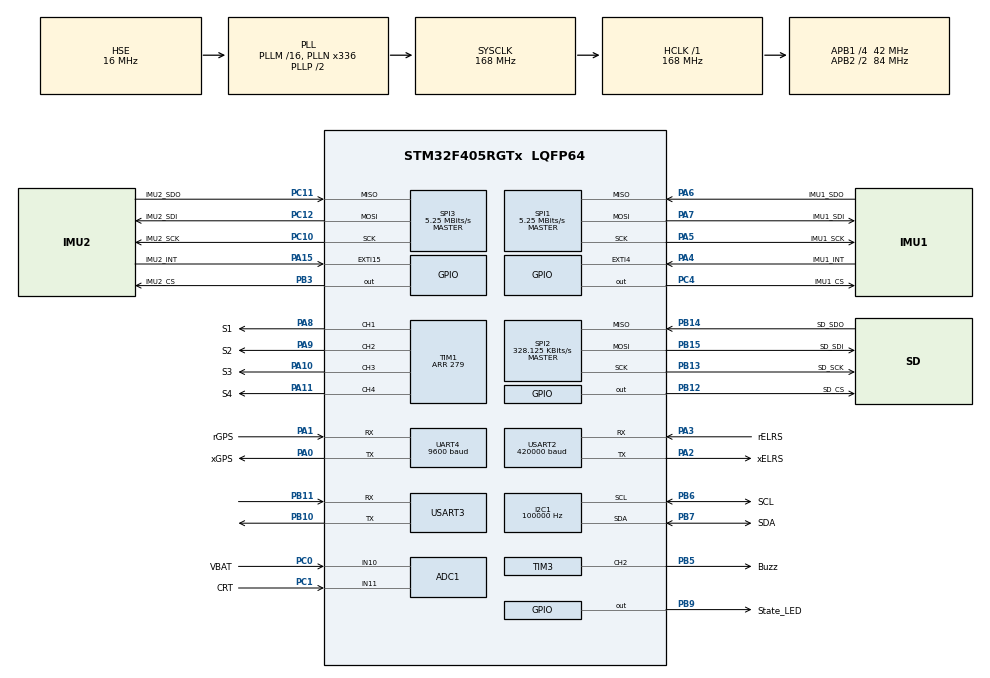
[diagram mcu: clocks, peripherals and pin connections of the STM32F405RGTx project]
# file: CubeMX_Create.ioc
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ADC1.Channel-0\#ChannelRegularConversion=ADC_CHANNEL_10
ADC1.Channel-1\#ChannelRegularConversion=ADC_CHANNEL_11
ADC1.ClockPrescaler=ADC_CLOCK_SYNC_PCLK_DIV6
ADC1.NbrOfConversion=2
ADC1.NbrOfConversionFlag=1
ADC1.Rank-0\#ChannelRegularConversion=1
ADC1.Rank-1\#ChannelRegularConversion=2
ADC1.SamplingTime-0\#ChannelRegularConversion=ADC_SAMPLETIME_144CYCLES
ADC1.SamplingTime-1\#ChannelRegularConversion=ADC_SAMPLETIME_15CYCLES
ADC1.master=1
Dma.Request0=TIM1_UP
Dma.Request1=SPI2_RX
Dma.Request2=SPI2_TX
Dma.Request3=UART4_RX
Dma.Request4=USART2_RX
Dma.Request5=USART2_TX
Dma.SPI2_RX.1.Direction=DMA_PERIPH_TO_MEMORY
Dma.SPI2_RX.1.FIFOMode=DMA_FIFOMODE_DISABLE
Dma.SPI2_RX.1.Instance=DMA1_Stream3
Dma.SPI2_RX.1.MemDataAlignment=DMA_MDATAALIGN_BYTE
Dma.SPI2_RX.1.MemInc=DMA_MINC_ENABLE
Dma.SPI2_RX.1.Mode=DMA_NORMAL
Dma.SPI2_RX.1.PeriphDataAlignment=DMA_PDATAALIGN_BYTE
Dma.SPI2_RX.1.PeriphInc=DMA_PINC_DISABLE
Dma.SPI2_RX.1.Priority=DMA_PRIORITY_LOW
Dma.SPI2_TX.2.Direction=DMA_MEMORY_TO_PERIPH
Dma.SPI2_TX.2.FIFOMode=DMA_FIFOMODE_DISABLE
Dma.SPI2_TX.2.Instance=DMA1_Stream4
Dma.SPI2_TX.2.MemDataAlignment=DMA_MDATAALIGN_BYTE
Dma.SPI2_TX.2.MemInc=DMA_MINC_ENABLE
Dma.SPI2_TX.2.Mode=DMA_NORMAL
Dma.SPI2_TX.2.PeriphDataAlignment=DMA_PDATAALIGN_BYTE
Dma.SPI2_TX.2.PeriphInc=DMA_PINC_DISABLE
Dma.SPI2_TX.2.Priority=DMA_PRIORITY_LOW
Dma.TIM1_UP.0.Direction=DMA_MEMORY_TO_PERIPH
Dma.TIM1_UP.0.FIFOMode=DMA_FIFOMODE_DISABLE
Dma.TIM1_UP.0.Instance=DMA2_Stream5
Dma.TIM1_UP.0.MemDataAlignment=DMA_MDATAALIGN_HALFWORD
Dma.TIM1_UP.0.MemInc=DMA_MINC_ENABLE
Dma.TIM1_UP.0.Mode=DMA_NORMAL
Dma.TIM1_UP.0.PeriphDataAlignment=DMA_PDATAALIGN_HALFWORD
Dma.TIM1_UP.0.PeriphInc=DMA_PINC_DISABLE
Dma.TIM1_UP.0.Priority=DMA_PRIORITY_VERY_HIGH
Dma.UART4_RX.3.Direction=DMA_PERIPH_TO_MEMORY
Dma.UART4_RX.3.FIFOMode=DMA_FIFOMODE_DISABLE
Dma.UART4_RX.3.Instance=DMA1_Stream2
Dma.UART4_RX.3.MemDataAlignment=DMA_MDATAALIGN_BYTE
Dma.UART4_RX.3.MemInc=DMA_MINC_ENABLE
Dma.UART4_RX.3.Mode=DMA_NORMAL
Dma.UART4_RX.3.PeriphDataAlignment=DMA_PDATAALIGN_BYTE
Dma.UART4_RX.3.PeriphInc=DMA_PINC_DISABLE
Dma.UART4_RX.3.Priority=DMA_PRIORITY_MEDIUM
Dma.USART2_RX.4.Direction=DMA_PERIPH_TO_MEMORY
Dma.USART2_RX.4.FIFOMode=DMA_FIFOMODE_DISABLE
Dma.USART2_RX.4.Instance=DMA1_Stream5
Dma.USART2_RX.4.MemDataAlignment=DMA_MDATAALIGN_BYTE
Dma.USART2_RX.4.MemInc=DMA_MINC_ENABLE
Dma.USART2_RX.4.Mode=DMA_CIRCULAR
Dma.USART2_RX.4.PeriphDataAlignment=DMA_PDATAALIGN_BYTE
Dma.USART2_RX.4.PeriphInc=DMA_PINC_DISABLE
Dma.USART2_RX.4.Priority=DMA_PRIORITY_HIGH
Dma.USART2_TX.5.Direction=DMA_MEMORY_TO_PERIPH
Dma.USART2_TX.5.FIFOMode=DMA_FIFOMODE_DISABLE
Dma.USART2_TX.5.Instance=DMA1_Stream6
Dma.USART2_TX.5.MemDataAlignment=DMA_MDATAALIGN_BYTE
Dma.USART2_TX.5.MemInc=DMA_MINC_ENABLE
Dma.USART2_TX.5.Mode=DMA_NORMAL
Dma.USART2_TX.5.PeriphDataAlignment=DMA_PDATAALIGN_BYTE
Dma.USART2_TX.5.PeriphInc=DMA_PINC_DISABLE
Dma.USART2_TX.5.Priority=DMA_PRIORITY_HIGH
FATFS._CODE_PAGE=437
FATFS._FS_NORTC=1
FATFS._NORTC_MON=7
FATFS._NORTC_YEAR=2025
FATFS._STRF_ENCODE=0
FATFS._USE_FASTSEEK=0
FATFS._USE_MKFS=0
FATFS._USE_STRFUNC=0
FREERTOS.Events01=SystemReadyEventGroup,Dynamic,NULL
FREERTOS.Queues01=RCChannelMailbox,1,RCChannelData_t,0,Dynamic,NULL,NULL;NavStateMailbox,1,NavState_t,0,Dynamic,NULL,NULL;IndicatorEventQueue,8,IndicatorEvent_t,0,Dynamic,NULL,NULL;MagDataMailbox,1,MagData_t,0,Dynamic,NULL,NULL;NavCommandQueue,4,NavCommand_t,0,Dynamic,NULL,NULL
FREERTOS.Tasks01=Task_FlightCtrl,55,512,StartTask_FlightControl,Default,NULL,Dynamic,NULL,NULL;Task_RC_LINK,54,256,StartTask_RC_LINK,Default,NULL,Dynamic,NULL,NULL;Task_Nav,53,384,StartTask_Nav,Default,NULL,Dynamic,NULL,NULL;Task_Blackbox,52,512,StartTask_Blackbox,Default,NULL,Dynamic,NULL,NULL;Task_Telemetry,52,256,StartTask_Telemetry,Default,NULL,Dynamic,NULL,NULL;Task_PowerMonit,52,160,StartTask_PowerMonitor,Default,NULL,Dynamic,NULL,NULL;Task_Indicator,52,128,StartTask_Indicator,Default,NULL,Dynamic,NULL,NULL;Task_IWDG_Feed,52,128,StartTask_IWDG,Default,NULL,Dynamic,NULL,NULL
FREERTOS.Timers01=RC_FailsafeTimer,RC_FailsafeTimeout_Callback,osTimerOnce,Default,NULL,Dynamic,NULL
FREERTOS.configCHECK_FOR_STACK_OVERFLOW=2
FREERTOS.configENABLE_FPU=1
FREERTOS.configTIMER_TASK_PRIORITY=55
FREERTOS.configTOTAL_HEAP_SIZE=49152
I2C1.ClockSpeed=100000
I2C1.I2C_Mode=I2C_Standard
Mcu.Family=STM32F4
Mcu.Name=STM32F405RGTx
Mcu.Package=LQFP64
NVIC.DMA1_Stream2_IRQn=true\:7\:0\:true\:false\:true\:true\:false\:true
NVIC.DMA1_Stream3_IRQn=true\:8\:0\:true\:false\:true\:true\:false\:true
NVIC.DMA1_Stream4_IRQn=true\:8\:0\:true\:false\:true\:true\:false\:true
NVIC.DMA1_Stream5_IRQn=true\:6\:0\:true\:false\:true\:true\:false\:true
NVIC.DMA1_Stream6_IRQn=true\:6\:0\:true\:false\:true\:true\:false\:true
NVIC.DMA2_Stream5_IRQn=true\:5\:0\:true\:false\:true\:true\:false\:true
NVIC.EXTI15_10_IRQn=true\:5\:0\:false\:false\:true\:true\:true\:true
NVIC.EXTI4_IRQn=true\:5\:0\:true\:false\:true\:true\:true\:true
NVIC.PriorityGroup=NVIC_PRIORITYGROUP_4
NVIC.SPI2_IRQn=true\:5\:0\:false\:false\:true\:true\:true\:true
NVIC.TIM6_DAC_IRQn=true\:15\:0\:false\:false\:true\:false\:false\:true
NVIC.TimeBase=TIM6_DAC_IRQn
NVIC.TimeBaseIP=TIM6
NVIC.UART4_IRQn=true\:5\:0\:false\:false\:true\:true\:true\:true
PA0-WKUP.GPIO_Label=xGPS
PA0-WKUP.GPIO_PuPd=GPIO_PULLUP
PA0-WKUP.GPIO_Speed=GPIO_SPEED_FREQ_LOW
PA0-WKUP.Mode=Asynchronous
PA0-WKUP.Signal=UART4_TX
PA1.GPIO_Label=rGPS
PA1.GPIO_PuPd=GPIO_PULLUP
PA1.GPIO_Speed=GPIO_SPEED_FREQ_LOW
PA1.Mode=Asynchronous
PA1.Signal=UART4_RX
PA10.GPIO_Label=S3
PA10.GPIO_Speed=GPIO_SPEED_FREQ_VERY_HIGH
PA10.Signal=S_TIM1_CH3
PA11.GPIO_Label=S4
PA11.GPIO_Speed=GPIO_SPEED_FREQ_VERY_HIGH
PA11.Signal=S_TIM1_CH4
PA13.GPIO_Label=SWDIO
PA13.Mode=Serial_Wire
PA13.Signal=SYS_JTMS-SWDIO
PA14.GPIO_Label=SWCLK
PA14.Mode=Serial_Wire
PA14.Signal=SYS_JTCK-SWCLK
PA15.GPIO_Label=IMU2_INT
PA15.Signal=GPXTI15
PA2.GPIO_Label=xELRS
PA2.GPIO_PuPd=GPIO_PULLUP
PA2.GPIO_Speed=GPIO_SPEED_FREQ_HIGH
PA2.Mode=Asynchronous
PA2.Signal=USART2_TX
PA3.GPIO_Label=rELRS
PA3.GPIO_PuPd=GPIO_PULLUP
PA3.GPIO_Speed=GPIO_SPEED_FREQ_HIGH
PA3.Mode=Asynchronous
PA3.Signal=USART2_RX
PA4.GPIO_Label=IMU1_INT
PA4.Signal=GPXTI4
PA5.GPIO_Label=IMU1_SCK
PA5.GPIO_Speed=GPIO_SPEED_FREQ_HIGH
PA5.Mode=Full_Duplex_Master
PA5.Signal=SPI1_SCK
PA6.GPIO_Label=IMU1_SDO
PA6.GPIO_Speed=GPIO_SPEED_FREQ_HIGH
PA6.Mode=Full_Duplex_Master
PA6.Signal=SPI1_MISO
PA7.GPIO_Label=IMU1_SDI
PA7.GPIO_Speed=GPIO_SPEED_FREQ_HIGH
PA7.Mode=Full_Duplex_Master
PA7.Signal=SPI1_MOSI
PA8.GPIO_Label=S1
PA8.GPIO_Speed=GPIO_SPEED_FREQ_VERY_HIGH
PA8.Signal=S_TIM1_CH1
PA9.GPIO_Label=S2
PA9.GPIO_Speed=GPIO_SPEED_FREQ_VERY_HIGH
PA9.Signal=S_TIM1_CH2
PB10.GPIO_ModeDefaultPP=GPIO_MODE_AF_PP
PB10.GPIO_PuPd=GPIO_NOPULL
PB10.GPIO_Speed=GPIO_SPEED_FREQ_VERY_HIGH
PB10.Mode=Asynchronous
PB10.Signal=USART3_TX
PB11.GPIO_ModeDefaultPP=GPIO_MODE_AF_PP
PB11.GPIO_PuPd=GPIO_NOPULL
PB11.GPIO_Speed=GPIO_SPEED_FREQ_VERY_HIGH
PB11.Mode=Asynchronous
PB11.Signal=USART3_RX
PB12.GPIO_Label=SD_CS
PB12.GPIO_Speed=GPIO_SPEED_FREQ_HIGH
PB12.PinState=GPIO_PIN_SET
PB12.Signal=GPIO_Output
PB13.GPIO_Label=SD_SCK
PB13.GPIO_Speed=GPIO_SPEED_FREQ_HIGH
PB13.Mode=Full_Duplex_Master
PB13.Signal=SPI2_SCK
PB14.GPIO_Label=SD_SDO
PB14.GPIO_Speed=GPIO_SPEED_FREQ_HIGH
PB14.Mode=Full_Duplex_Master
PB14.Signal=SPI2_MISO
PB15.GPIO_Label=SD_SDI
PB15.GPIO_Speed=GPIO_SPEED_FREQ_HIGH
PB15.Mode=Full_Duplex_Master
PB15.Signal=SPI2_MOSI
PB3.GPIO_Label=IMU2_CS
PB3.GPIO_Speed=GPIO_SPEED_FREQ_HIGH
PB3.PinState=GPIO_PIN_SET
PB3.Signal=GPIO_Output
PB5.GPIO_Label=Buzz
PB5.GPIO_Speed=GPIO_SPEED_FREQ_HIGH
PB5.Signal=S_TIM3_CH2
PB6.GPIO_Label=SCL
PB6.GPIO_Speed=GPIO_SPEED_FREQ_HIGH
PB6.Mode=I2C
PB6.Signal=I2C1_SCL
PB7.GPIO_Label=SDA
PB7.GPIO_Speed=GPIO_SPEED_FREQ_HIGH
PB7.Mode=I2C
PB7.Signal=I2C1_SDA
PB9.GPIO_Label=State_LED
PB9.GPIO_Speed=GPIO_SPEED_FREQ_HIGH
PB9.PinState=GPIO_PIN_SET
PB9.Signal=GPIO_Output
PC0.GPIO_Label=VBAT
PC0.Signal=ADCx_IN10
PC1.GPIO_Label=CRT
PC1.Signal=ADCx_IN11
PC10.GPIO_Label=IMU2_SCK
PC10.GPIO_Speed=GPIO_SPEED_FREQ_HIGH
PC10.Mode=Full_Duplex_Master
PC10.Signal=SPI3_SCK
PC11.GPIO_Label=IMU2_SDO
PC11.GPIO_Speed=GPIO_SPEED_FREQ_HIGH
PC11.Mode=Full_Duplex_Master
PC11.Signal=SPI3_MISO
PC12.GPIO_Label=IMU2_SDI
PC12.GPIO_Speed=GPIO_SPEED_FREQ_HIGH
PC12.Mode=Full_Duplex_Master
PC12.Signal=SPI3_MOSI
PC4.GPIO_Label=IMU1_CS
PC4.GPIO_Speed=GPIO_SPEED_FREQ_HIGH
PC4.PinState=GPIO_PIN_SET
PC4.Signal=GPIO_Output
PD2.GPIO_Label=Tele
PD2.Signal=UART5_RX
PH0-OSC_IN.Mode=HSE-External-Oscillator
PH0-OSC_IN.Signal=RCC_OSC_IN
PH1-OSC_OUT.Mode=HSE-External-Oscillator
PH1-OSC_OUT.Signal=RCC_OSC_OUT
ProjectManager.HeapSize=0x1000
ProjectManager.StackSize=0x2000
ProjectManager.TargetToolchain=MDK-ARM V5.32
RCC.48MHZClocksFreq_Value=84000000
RCC.AHBFreq_Value=168000000
RCC.APB1CLKDivider=RCC_HCLK_DIV4
RCC.APB1Freq_Value=42000000
RCC.APB1TimFreq_Value=84000000
RCC.APB2CLKDivider=RCC_HCLK_DIV2
RCC.APB2Freq_Value=84000000
RCC.APB2TimFreq_Value=168000000
RCC.CortexFreq_Value=168000000
RCC.HCLKFreq_Value=168000000
RCC.HSE_VALUE=16000000
RCC.HSI_VALUE=16000000
RCC.LSE_VALUE=32768
RCC.PLLN=336
RCC.PLLSourceVirtual=RCC_PLLSOURCE_HSE
RCC.SYSCLKFreq_VALUE=168000000
RCC.SYSCLKSource=RCC_SYSCLKSOURCE_PLLCLK
RCC.VCOOutputFreq_Value=336000000
SH.ADCx_IN10.0=ADC1_IN10,IN10
SH.ADCx_IN11.0=ADC1_IN11,IN11
SH.S_TIM1_CH1.0=TIM1_CH1,PWM Generation1 CH1
SH.S_TIM1_CH2.0=TIM1_CH2,PWM Generation2 CH2
SH.S_TIM1_CH3.0=TIM1_CH3,PWM Generation3 CH3
SH.S_TIM1_CH4.0=TIM1_CH4,PWM Generation4 CH4
SH.S_TIM3_CH2.0=TIM3_CH2,PWM Generation2 CH2
SPI1.BaudRatePrescaler=SPI_BAUDRATEPRESCALER_16
SPI1.CLKPhase=SPI_PHASE_2EDGE
SPI1.CLKPolarity=SPI_POLARITY_HIGH
SPI1.CalculateBaudRate=5.25 MBits/s
SPI1.Direction=SPI_DIRECTION_2LINES
SPI1.Mode=SPI_MODE_MASTER
SPI1.VirtualType=VM_MASTER
SPI2.BaudRatePrescaler=SPI_BAUDRATEPRESCALER_128
SPI2.CalculateBaudRate=328.125 KBits/s
SPI2.Direction=SPI_DIRECTION_2LINES
SPI2.Mode=SPI_MODE_MASTER
SPI2.VirtualType=VM_MASTER
SPI3.BaudRatePrescaler=SPI_BAUDRATEPRESCALER_8
SPI3.CLKPhase=SPI_PHASE_2EDGE
SPI3.CLKPolarity=SPI_POLARITY_HIGH
SPI3.CalculateBaudRate=5.25 MBits/s
SPI3.Direction=SPI_DIRECTION_2LINES
SPI3.Mode=SPI_MODE_MASTER
SPI3.VirtualType=VM_MASTER
TIM1.Channel-PWM\ Generation1\ CH1=TIM_CHANNEL_1
TIM1.Channel-PWM\ Generation2\ CH2=TIM_CHANNEL_2
TIM1.Channel-PWM\ Generation3\ CH3=TIM_CHANNEL_3
TIM1.Channel-PWM\ Generation4\ CH4=TIM_CHANNEL_4
TIM1.OCMode_PWM-PWM\ Generation2\ CH2=TIM_OCMODE_PWM1
TIM1.Period=279
TIM3.Channel-PWM\ Generation2\ CH2=TIM_CHANNEL_2
TIM3.OCPolarity_2=TIM_OCPOLARITY_HIGH
TIM3.Period=41045
UART4.BaudRate=9600
UART4.VirtualMode=Asynchronous
USART2.BaudRate=420000
USART2.OverSampling=UART_OVERSAMPLING_8
USART2.VirtualMode=VM_ASYNC
USART3.VirtualMode=VM_ASYNC
VP_FATFS_VS_Generic.Mode=User_defined
VP_FREERTOS_VS_CMSIS_V2.Mode=CMSIS_V2
VP_IWDG_VS_IWDG.Mode=IWDG_Activate
VP_SYS_VS_tim6.Mode=TIM6
VP_TIM1_VS_ClockSourceINT.Mode=Internal
board=custom

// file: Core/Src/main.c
/* USER CODE BEGIN Header */
/**
  ******************************************************************************
  * @file           : main.c
  * @brief          : Main program body
  ******************************************************************************
  * @attention
  *
  * <h2><center>&copy; Copyright (c) 2026 STMicroelectronics.
  * All rights reserved.</center></h2>
  *
  * This software component is licensed by ST under Ultimate Liberty license
  * SLA0044, the "License"; You may not use this file except in compliance with
  * the License. You may obtain a copy of the License at:
  *                             www.st.com/SLA0044
  *
  ******************************************************************************
  */
/* USER CODE END Header */
#include "main.h"
#include "cmsis_os.h"
#include "adc.h"
#include "dma.h"
#include "fatfs.h"
#include "i2c.h"
#include "iwdg.h"
#include "spi.h"
#include "tim.h"
#include "usart.h"
#include "gpio.h"

/* USER CODE BEGIN Includes */
#include "bsp_dshot.h"
/* USER CODE END Includes */

void SystemClock_Config(void);
void MX_FREERTOS_Init(void);

int main(void)
{

  /* MCU Configuration--------------------------------------------------------*/

  /* Reset of all peripherals, Initializes the Flash interface and the Systick. */
  HAL_Init();

  /* Configure the system clock */
  SystemClock_Config();

  /* Initialize all configured peripherals */
  MX_GPIO_Init();
  MX_ADC1_Init();
  MX_DMA_Init();
  MX_TIM1_Init();
  MX_I2C1_Init();
  MX_SPI1_Init();
  MX_SPI2_Init();
  MX_SPI3_Init();
  MX_TIM3_Init();
  MX_UART4_Init();
  MX_USART3_UART_Init();
  MX_FATFS_Init();
  MX_USART2_UART_Init();
  MX_IWDG_Init();
  /* USER CODE BEGIN 2 */
  BSP_DSHOT_Init();

  osDelay(5000);
  // ESC上电握手：持续发0油门，让ESC完成自检
  for (int i = 0; i < 3000; i++)
  {
    BSP_DSHOT_Send(0, 0, 0, 0);
    HAL_IWDG_Refresh(&hiwdg);
    osDelay(1);
  }
  /* USER CODE END 2 */

  /* Init scheduler */
  osKernelInitialize();  /* Call init function for freertos objects (in freertos.c) */
  MX_FREERTOS_Init();
  /* Start scheduler */
  osKernelStart();

  /* We should never get here as control is now taken by the scheduler */
  /* Infinite loop */
  while (1)
  {

  }
}

void SystemClock_Config(void)
{
  RCC_OscInitTypeDef RCC_OscInitStruct = {0};
  RCC_ClkInitTypeDef RCC_ClkInitStruct = {0};

  /** Configure the main internal regulator output voltage
  */
  __HAL_RCC_PWR_CLK_ENABLE();
  __HAL_PWR_VOLTAGESCALING_CONFIG(PWR_REGULATOR_VOLTAGE_SCALE1);
  /** Initializes the RCC Oscillators according to the specified parameters
  * in the RCC_OscInitTypeDef structure.
  */
  RCC_OscInitStruct.OscillatorType = RCC_OSCILLATORTYPE_LSI|RCC_OSCILLATORTYPE_HSE;
  RCC_OscInitStruct.HSEState = RCC_HSE_ON;
  RCC_OscInitStruct.LSIState = RCC_LSI_ON;
  RCC_OscInitStruct.PLL.PLLState = RCC_PLL_ON;
  RCC_OscInitStruct.PLL.PLLSource = RCC_PLLSOURCE_HSE;
  RCC_OscInitStruct.PLL.PLLM = 16;
  RCC_OscInitStruct.PLL.PLLN = 336;
  RCC_OscInitStruct.PLL.PLLP = RCC_PLLP_DIV2;
  RCC_OscInitStruct.PLL.PLLQ = 4;
  if (HAL_RCC_OscConfig(&RCC_OscInitStruct) != HAL_OK)
  {
    Error_Handler();
  }
  /** Initializes the CPU, AHB and APB buses clocks
  */
  RCC_ClkInitStruct.ClockType = RCC_CLOCKTYPE_HCLK|RCC_CLOCKTYPE_SYSCLK
                              |RCC_CLOCKTYPE_PCLK1|RCC_CLOCKTYPE_PCLK2;
  RCC_ClkInitStruct.SYSCLKSource = RCC_SYSCLKSOURCE_PLLCLK;
  RCC_ClkInitStruct.AHBCLKDivider = RCC_SYSCLK_DIV1;
  RCC_ClkInitStruct.APB1CLKDivider = RCC_HCLK_DIV4;
  RCC_ClkInitStruct.APB2CLKDivider = RCC_HCLK_DIV2;

  if (HAL_RCC_ClockConfig(&RCC_ClkInitStruct, FLASH_LATENCY_5) != HAL_OK)
  {
    Error_Handler();
  }
}

void HAL_TIM_PeriodElapsedCallback(TIM_HandleTypeDef *htim)
{
  if (htim->Instance == TIM6) {
    HAL_IncTick();
  }
}

void Error_Handler(void)
{
  __disable_irq();
  while (1)
  {
  }
}

/************************ (C) COPYRIGHT STMicroelectronics *****END OF FILE****/

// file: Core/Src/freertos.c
/* USER CODE BEGIN Header */
/**
  ******************************************************************************
  * File Name          : freertos.c
  * Description        : Code for freertos applications
  ******************************************************************************
  * @attention
  *
  * <h2><center>&copy; Copyright (c) 2026 STMicroelectronics.
  * All rights reserved.</center></h2>
  *
  * This software component is licensed by ST under Ultimate Liberty license
  * SLA0044, the "License"; You may not use this file except in compliance with
  * the License. You may obtain a copy of the License at:
  *                             www.st.com/SLA0044
  *
  ******************************************************************************
  */
/* USER CODE END Header */

#include "FreeRTOS.h"
#include "task.h"
#include "main.h"
#include "cmsis_os.h"

/* USER CODE BEGIN Includes */
#include "app_shared_types.h"
#include "app_nav.h"
#include "app_flightctrl.h"
#include "app_power_monitor.h"
#include "app_rc_link.h"
#include "app_blackbox.h"
#include "app_iwdg_feed.h"
#include "app_indicator.h"
#include "bsp_qmc5883.h"
#include "bsp_elrs.h"
/* USER CODE END Includes */

/* Definitions for Task_FlightCtrl */
osThreadId_t Task_FlightCtrlHandle;
const osThreadAttr_t Task_FlightCtrl_attributes = {
  .name = "Task_FlightCtrl",
  .stack_size = 512 * 4,
  .priority = (osPriority_t) osPriorityRealtime7,
};
/* Definitions for Task_RC_LINK */
osThreadId_t Task_RC_LINKHandle;
const osThreadAttr_t Task_RC_LINK_attributes = {
  .name = "Task_RC_LINK",
  .stack_size = 256 * 4,
  .priority = (osPriority_t) osPriorityRealtime6,
};
/* Definitions for Task_Nav */
osThreadId_t Task_NavHandle;
const osThreadAttr_t Task_Nav_attributes = {
  .name = "Task_Nav",
  .stack_size = 384 * 4,
  .priority = (osPriority_t) osPriorityRealtime5,
};
/* Definitions for Task_Blackbox */
osThreadId_t Task_BlackboxHandle;
const osThreadAttr_t Task_Blackbox_attributes = {
  .name = "Task_Blackbox",
  .stack_size = 512 * 4,
  .priority = (osPriority_t) osPriorityRealtime4,
};
/* Definitions for Task_Telemetry */
osThreadId_t Task_TelemetryHandle;
const osThreadAttr_t Task_Telemetry_attributes = {
  .name = "Task_Telemetry",
  .stack_size = 256 * 4,
  .priority = (osPriority_t) osPriorityRealtime4,
};
/* Definitions for Task_PowerMonit */
osThreadId_t Task_PowerMonitHandle;
const osThreadAttr_t Task_PowerMonit_attributes = {
  .name = "Task_PowerMonit",
  .stack_size = 160 * 4,
  .priority = (osPriority_t) osPriorityRealtime4,
};
/* Definitions for Task_Indicator */
osThreadId_t Task_IndicatorHandle;
const osThreadAttr_t Task_Indicator_attributes = {
  .name = "Task_Indicator",
  .stack_size = 128 * 4,
  .priority = (osPriority_t) osPriorityRealtime4,
};
/* Definitions for Task_IWDG_Feed */
osThreadId_t Task_IWDG_FeedHandle;
const osThreadAttr_t Task_IWDG_Feed_attributes = {
  .name = "Task_IWDG_Feed",
  .stack_size = 128 * 4,
  .priority = (osPriority_t) osPriorityRealtime4,
};
/* Definitions for RCChannelMailbox */
osMessageQueueId_t RCChannelMailboxHandle;
const osMessageQueueAttr_t RCChannelMailbox_attributes = {
  .name = "RCChannelMailbox"
};
/* Definitions for NavStateMailbox */
osMessageQueueId_t NavStateMailboxHandle;
const osMessageQueueAttr_t NavStateMailbox_attributes = {
  .name = "NavStateMailbox"
};
/* Definitions for IndicatorEventQueue */
osMessageQueueId_t IndicatorEventQueueHandle;
const osMessageQueueAttr_t IndicatorEventQueue_attributes = {
  .name = "IndicatorEventQueue"
};
/* Definitions for MagDataMailbox */
osMessageQueueId_t MagDataMailboxHandle;
const osMessageQueueAttr_t MagDataMailbox_attributes = {
  .name = "MagDataMailbox"
};
/* Definitions for NavCommandQueue */
osMessageQueueId_t NavCommandQueueHandle;
const osMessageQueueAttr_t NavCommandQueue_attributes = {
  .name = "NavCommandQueue"
};
/* Definitions for RC_FailsafeTimer */
osTimerId_t RC_FailsafeTimerHandle;
const osTimerAttr_t RC_FailsafeTimer_attributes = {
  .name = "RC_FailsafeTimer"
};
/* Definitions for SystemReadyEventGroup */
osEventFlagsId_t SystemReadyEventGroupHandle;
const osEventFlagsAttr_t SystemReadyEventGroup_attributes = {
  .name = "SystemReadyEventGroup"
};

void StartTask_FlightControl(void *argument);
void StartTask_RC_LINK(void *argument);
void StartTask_Nav(void *argument);
void StartTask_Blackbox(void *argument);
void StartTask_Telemetry(void *argument);
void StartTask_PowerMonitor(void *argument);
void StartTask_Indicator(void *argument);
void StartTask_IWDG(void *argument);
void RC_FailsafeTimeout_Callback(void *argument);

void MX_FREERTOS_Init(void); /* (MISRA C 2004 rule 8.1) */

/* Hook prototypes */
void vApplicationStackOverflowHook(xTaskHandle xTask, signed char *pcTaskName);

/* USER CODE BEGIN 4 */
void vApplicationStackOverflowHook(xTaskHandle xTask, signed char *pcTaskName)
{
   /* Run time stack overflow checking is performed if
   configCHECK_FOR_STACK_OVERFLOW is defined to 1 or 2. This hook function is
   called if a stack overflow is detected. */
}
/* USER CODE END 4 */

void MX_FREERTOS_Init(void) {

  /* Create the timer(s) */
  /* creation of RC_FailsafeTimer */
  RC_FailsafeTimerHandle = osTimerNew(RC_FailsafeTimeout_Callback, osTimerOnce, NULL, &RC_FailsafeTimer_attributes);

  /* Create the queue(s) */
  /* creation of RCChannelMailbox */
  RCChannelMailboxHandle = osMessageQueueNew (1, sizeof(RCChannelData_t), &RCChannelMailbox_attributes);

  /* creation of NavStateMailbox */
  NavStateMailboxHandle = osMessageQueueNew (1, sizeof(NavState_t), &NavStateMailbox_attributes);

  /* creation of IndicatorEventQueue */
  IndicatorEventQueueHandle = osMessageQueueNew (8, sizeof(IndicatorEvent_t), &IndicatorEventQueue_attributes);

  /* creation of MagDataMailbox */
  MagDataMailboxHandle = osMessageQueueNew (1, sizeof(MagData_t), &MagDataMailbox_attributes);

  /* creation of NavCommandQueue */
  NavCommandQueueHandle = osMessageQueueNew (4, sizeof(NavCommand_t), &NavCommandQueue_attributes);

  /* Create the thread(s) */
  /* creation of Task_FlightCtrl */
  Task_FlightCtrlHandle = osThreadNew(StartTask_FlightControl, NULL, &Task_FlightCtrl_attributes);

  /* creation of Task_RC_LINK */
  Task_RC_LINKHandle = osThreadNew(StartTask_RC_LINK, NULL, &Task_RC_LINK_attributes);

  /* creation of Task_Nav */
  Task_NavHandle = osThreadNew(StartTask_Nav, NULL, &Task_Nav_attributes);

  /* creation of Task_Blackbox */
  Task_BlackboxHandle = osThreadNew(StartTask_Blackbox, NULL, &Task_Blackbox_attributes);

  /* creation of Task_Telemetry */
  Task_TelemetryHandle = osThreadNew(StartTask_Telemetry, NULL, &Task_Telemetry_attributes);

  /* creation of Task_PowerMonit */
  Task_PowerMonitHandle = osThreadNew(StartTask_PowerMonitor, NULL, &Task_PowerMonit_attributes);

  /* creation of Task_Indicator */
  Task_IndicatorHandle = osThreadNew(StartTask_Indicator, NULL, &Task_Indicator_attributes);

  /* creation of Task_IWDG_Feed */
  Task_IWDG_FeedHandle = osThreadNew(StartTask_IWDG, NULL, &Task_IWDG_Feed_attributes);

  /* Create the event(s) */
  /* creation of SystemReadyEventGroup */
  SystemReadyEventGroupHandle = osEventFlagsNew(&SystemReadyEventGroup_attributes);

}

void StartTask_FlightControl(void *argument)
{
  /* USER CODE BEGIN StartTask_FlightControl */
  /* Infinite loop */
  App_FlightCtrl_Task(argument);
  // for (;;)
  // {
  //   osDelay(1);
  // }
  /* USER CODE END StartTask_FlightControl */
}

void StartTask_RC_LINK(void *argument)
{
  /* USER CODE BEGIN StartTask_RC_LINK */
  /* Infinite loop */
  App_RcLink_Task(argument);
  // for (;;)
  // {
  //   osDelay(1);
  // }
  /* USER CODE END StartTask_RC_LINK */
}

void StartTask_Nav(void *argument)
{
  /* USER CODE BEGIN StartTask_Nav */
  /* Infinite loop */
  App_Nav_Task(argument);
  // for (;;)
  // {
  //   osDelay(1);
  // }
  /* USER CODE END StartTask_Nav */
}

void StartTask_Blackbox(void *argument)
{
  /* USER CODE BEGIN StartTask_Blackbox */
  /* Infinite loop */
  App_Blackbox_Task(argument);
  // for (;;)
  // {
  //   osDelay(1);
  // }
  /* USER CODE END StartTask_Blackbox */
}

void StartTask_Telemetry(void *argument)
{
  for(;;)
  {
    osDelay(1);
  }
}

void StartTask_PowerMonitor(void *argument)
{
  /* USER CODE BEGIN StartTask_PowerMonitor */
  /* Infinite loop */
  App_PowerMonit_Task(argument);
  // for (;;)
  // {
  //   osDelay(1);
  // }
  /* USER CODE END StartTask_PowerMonitor */
}

void StartTask_Indicator(void *argument)
{
  /* USER CODE BEGIN StartTask_Indicator */
  /* Infinite loop */
  App_Indicator_Task(argument);
  // for (;;)
  // {
  //   osDelay(1);
  // }
  /* USER CODE END StartTask_Indicator */
}

void StartTask_IWDG(void *argument)
{
  /* USER CODE BEGIN StartTask_IWDG */
  /* Infinite loop */
  App_IwdgFeed_Task(argument);
  // for (;;)
  // {
  //   osDelay(1);
  // }
  /* USER CODE END StartTask_IWDG */
}

/* RC_FailsafeTimeout_Callback function */
void RC_FailsafeTimeout_Callback(void *argument)
{
  for (;;)
  {
    osDelay(1);
  }
}

/************************ (C) COPYRIGHT STMicroelectronics *****END OF FILE****/
